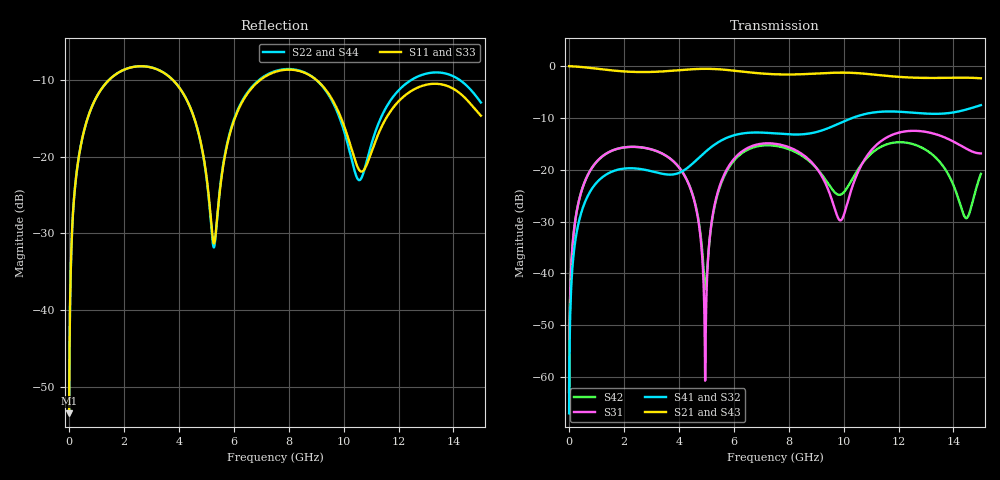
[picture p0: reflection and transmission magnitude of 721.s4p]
! Created with skrf 1.8.0 (http://scikit-rf.org).
# GHz S RI R 50.0
!freq ReS11 ImS11 ReS12 ImS12 ReS13 ImS13
! ReS14 ImS14
! ReS21 ImS21 ReS22 ImS22 ReS23 ImS23
! ReS24 ImS24
! ReS31 ImS31 ReS32 ImS32 ReS33 ImS33
! ReS34 ImS34
! ReS41 ImS41 ReS42 ImS42 ReS43 ImS43
! ReS44 ImS44
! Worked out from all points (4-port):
!   2499 points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, 5 MHz to 15 GHz, reference 50 ohm
!   strongest paths, dB at 5 MHz, 3.476 GHz, 7.19 GHz, 11.1 GHz, 15 GHz:
!     S21: 0.0, -1.0, -1.5, -1.6, -2.4
!     S43: 0.0, -1.0, -1.5, -1.6, -2.3
!     S41: -67.0, -20.8, -12.9, -8.9, -7.5
!     S32: -67.0, -20.9, -12.9, -8.9, -7.5
!     S31: -62.9, -17.1, -14.9, -15.7, -16.8
!     S42: -62.9, -17.1, -15.3, -16.5, -20.8
!   lowest |S11| = -53.4 dB at 5 MHz (marker M1), VSWR 1.00, Z = 50.2 + j0.129 ohm
!   |S11| at or under -10 dB: start of sweep to 1.458 GHz; 3.781 GHz to 6.966 GHz (3.185 GHz wide, 59.3 % of centre); 9.01 GHz to end of sweep
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0.005  0.0017 0.00128  0.9983 -0.0033  8.67e-05 0.000711  -8.4e-05 -0.00044
       0.9983 -0.0033  0.0017 0.00128  -8.4e-05 -0.00044  8.67e-05 0.000711
       8.67e-05 0.000711  -8.4e-05 -0.00044  0.0017 0.00128  0.9983 -0.0033
       -8.4e-05 -0.00044  8.67e-05 0.000711  0.9983 -0.0033  0.0017 0.00128
0.3126303  0.0255 0.0842  0.9651 -0.2052  0.0124 0.0421  -0.0102 -0.0257
           0.9651 -0.2052  0.0255 0.0842  -0.0102 -0.0257  0.0123 0.0421
           0.0124 0.0421  -0.0102 -0.0257  0.0255 0.0842  0.9651 -0.2052
           -0.0102 -0.0257  0.0123 0.0421  0.9651 -0.2052  0.0255 0.0842
1.569404  0.2823 0.1703  0.5186 -0.7458  0.1405 0.0609  -0.0961 -0.000511
          0.5186 -0.7458  0.2827 0.1701  -0.096 -0.000674  0.1399 0.0617
          0.1405 0.0609  -0.096 -0.000674  0.2825 0.1703  0.5186 -0.7458
          -0.0961 -0.000511  0.1399 0.0617  0.5186 -0.7458  0.2827 0.1701
4.958316  0.041 -0.0754  -0.9046 -0.2603  -0.000853 -0.000359  -0.0353 0.1438
          -0.9046 -0.2603  0.0392 -0.075  -0.0377 0.1432  -0.00697 -0.00173
          -0.000853 -0.000359  -0.0377 0.1432  0.0399 -0.077  -0.9045 -0.2604
          -0.0353 0.1438  -0.00697 -0.00173  -0.9045 -0.2604  0.0411 -0.0757
6.140058  0.1274 0.1509  -0.8048 0.3922  0.1085 0.0859  0.1252 0.1804
          -0.8048 0.3922  0.1292 0.1537  0.1223 0.1822  0.0975 0.0911
          0.1085 0.0859  0.1223 0.1822  0.1257 0.1512  -0.8048 0.3925
          0.1252 0.1804  0.0975 0.0911  -0.8048 0.3925  0.1303 0.1515
10.61692  0.0792 -0.0136  0.8417 0.1248  0.0166 0.1056  0.0367 -0.3338
          0.8417 0.1248  0.071 0.00437  0.0463 -0.3327  -0.03 0.105
          0.0166 0.1056  0.0463 -0.3327  0.0784 -0.0148  0.8418 0.123
          0.0367 -0.3338  -0.03 0.105  0.8418 0.123  0.0729 0.000971
15  0.1818 -0.0343  -0.5416 -0.5369  -0.138 -0.0406  -0.2945 0.2991
    -0.5416 -0.5369  0.1965 -0.1106  -0.3082 0.2863  -0.0665 0.0629
    -0.138 -0.0406  -0.3082 0.2863  0.1708 -0.035  -0.548 -0.5317
    -0.2945 0.2991  -0.0665 0.0629  -0.548 -0.5317  0.196 -0.1068
